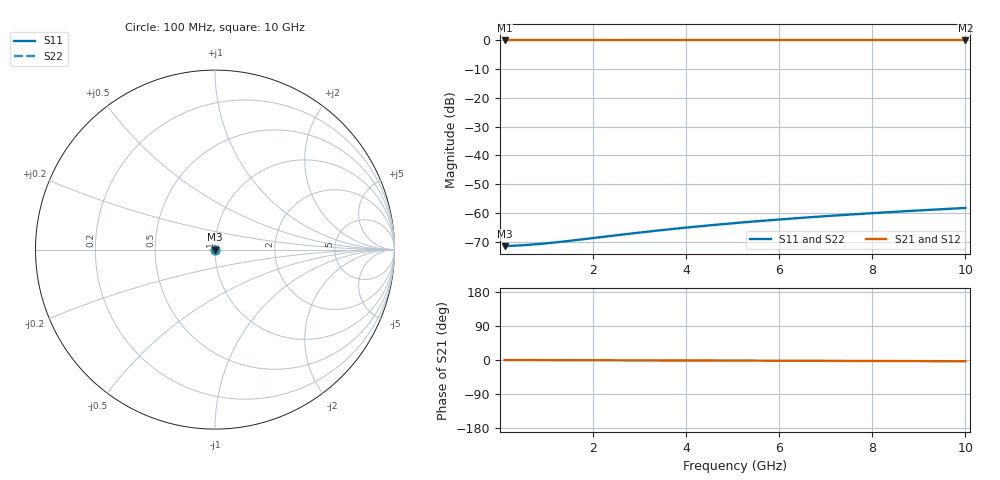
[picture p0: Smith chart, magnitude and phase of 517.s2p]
# Hz S RI R 50.00
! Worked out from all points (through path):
!   100 points, 100 MHz to 10 GHz, reference 50 ohm
!   highest |S21| = 0.00 dB at 100 MHz (marker M1); lowest = 0.0 dB at 10 GHz (marker M2)
!   lowest |S11| = -71.6 dB at 100 MHz (marker M3), VSWR 1.00, Z = 50 + j0.00121 ohm
!   |S11| at or under -10 dB: start of sweep to end of sweep
!   |S22| runs from -71.6 to -58.3 dB; largest |S21 - S12| = 0
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1e8  0.000263 1.21e-05  0.9997 -0.000568  0.9997 -0.000568  0.000263 1.21e-05
3e8  0.000266 3.63e-05  0.9997 -0.0017  0.9997 -0.0017  0.000266 3.63e-05
5e8  0.000267 6.05e-05  0.9997 -0.00284  0.9997 -0.00284  0.000267 6.05e-05
7e8  0.000268 8.46e-05  0.9997 -0.00398  0.9997 -0.00398  0.000268 8.46e-05
9e8  0.000269 0.000109  0.9997 -0.00511  0.9997 -0.00511  0.000269 0.000109
1.1e9  0.00027 0.000133  0.9997 -0.00625  0.9997 -0.00625  0.00027 0.000133
1.3e9  0.000271 0.000157  0.9997 -0.00739  0.9997 -0.00739  0.000271 0.000157
1.8e9  0.000273 0.000216  0.9997 -0.0102  0.9997 -0.0102  0.000273 0.000216
2.7e9  0.000277 0.000323  0.9996 -0.0154  0.9996 -0.0154  0.000277 0.000323
3.1e9  0.000279 0.00037  0.9996 -0.0176  0.9996 -0.0176  0.000279 0.00037
3.4e9  0.000281 0.000405  0.9995 -0.0193  0.9995 -0.0193  0.000281 0.000405
3.8e9  0.000283 0.000452  0.9995 -0.0216  0.9995 -0.0216  0.000283 0.000452
4.2e9  0.000285 0.000499  0.9994 -0.0239  0.9994 -0.0239  0.000285 0.000499
4.6e9  0.000288 0.000545  0.9994 -0.0262  0.9994 -0.0262  0.000288 0.000545
5.1e9  0.000291 0.000603  0.9993 -0.029  0.9993 -0.029  0.000291 0.000603
5.5e9  0.000294 0.000649  0.9992 -0.0313  0.9992 -0.0313  0.000294 0.000649
5.9e9  0.000297 0.000695  0.9991 -0.0336  0.9991 -0.0336  0.000297 0.000695
6.7e9  0.000305 0.000786  0.999 -0.0382  0.999 -0.0382  0.000305 0.000786
7.5e9  0.000312 0.000878  0.9988 -0.0428  0.9988 -0.0428  0.000312 0.000878
8.4e9  0.000322 0.000982  0.9985 -0.0479  0.9985 -0.0479  0.000322 0.000982
9.2e9  0.000332 0.00107  0.9983 -0.0525  0.9983 -0.0525  0.000332 0.00107
1e10  0.000343 0.00117  0.998 -0.0571  0.998 -0.0571  0.000343 0.00117
